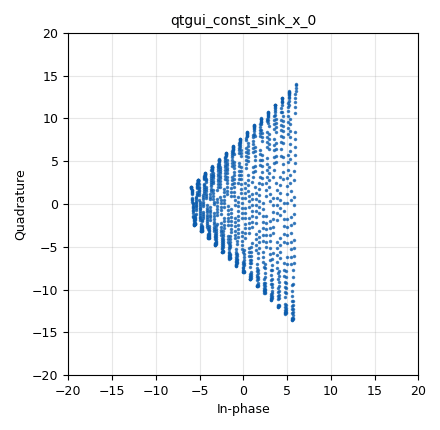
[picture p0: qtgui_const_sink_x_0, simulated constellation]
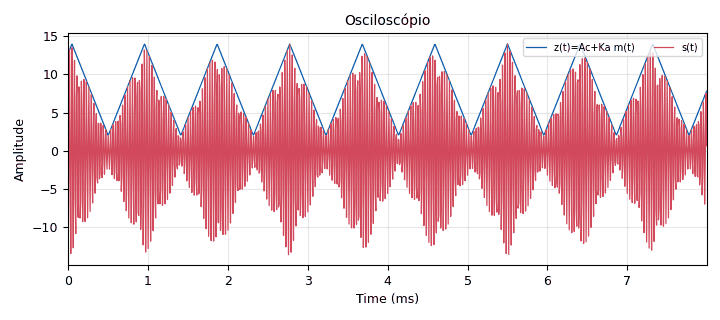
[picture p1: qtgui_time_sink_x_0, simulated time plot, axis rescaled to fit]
options:
  parameters:
    author: pedro
    generate_options: qt_gui
    id: m180108140_Exp02_AR01
    output_language: python
    title: AR01
  states: {}

blocks:
- name: Ka
  id: variable_qtgui_range
  parameters:
    gui_hint: (7,1,1,4)
    orient: Qt.Horizontal
    start: '0'
    step: '1'
    stop: '12'
    value: '6'
  states: {}
- name: samp_rate
  id: variable
  parameters:
    value: '128000'
  states: {}
- name: analog_sig_source_x_0
  id: analog_sig_source_x
  parameters:
    amp: '2'
    freq: '1100'
    offset: '-1'
    phase: '0'
    samp_rate: samp_rate
    type: float
    waveform: analog.GR_TRI_WAVE
  states: {}
- name: analog_sig_source_x_0_0
  id: analog_sig_source_x
  parameters:
    amp: '1'
    freq: '33000'
    offset: '0'
    phase: '0'
    samp_rate: samp_rate
    type: float
    waveform: analog.GR_COS_WAVE
  states: {}
- name: blocks_add_const_vxx_0
  id: blocks_add_const_vxx
  parameters:
    const: '8'
    type: float
  states: {}
- name: blocks_float_to_complex_0
  id: blocks_float_to_complex
  parameters: {}
  states: {}
- name: blocks_multiply_const_vxx_0
  id: blocks_multiply_const_vxx
  parameters:
    const: Ka
    type: float
  states: {}
- name: blocks_multiply_xx_0
  id: blocks_multiply_xx
  parameters:
    type: float
  states: {}
- name: blocks_throttle_0
  id: blocks_throttle
  parameters:
    samples_per_second: samp_rate
    type: float
  states: {}
- name: blocks_throttle_0_0
  id: blocks_throttle
  parameters:
    samples_per_second: samp_rate
    type: float
  states: {}
- name: blocks_throttle_1
  id: blocks_throttle
  parameters:
    samples_per_second: samp_rate
    type: complex
  states: {}
- name: qtgui_const_sink_x_0
  id: qtgui_const_sink_x
  parameters:
    grid: 'True'
    gui_hint: (1,3,6,2)
    size: '1024'
    type: complex
    xmax: '20'
    xmin: '-20'
    ymax: '20'
    ymin: '-20'
  states: {}
- name: qtgui_time_sink_x_0
  id: qtgui_time_sink_x
  parameters:
    ctrlpanel: 'True'
    grid: 'True'
    gui_hint: (1,1,6,2)
    label1: z(t)=Ac+Ka m(t)
    label2: s(t)
    name: Osciloscópio
    nconnections: '2'
    size: '1024'
    srate: samp_rate
    type: float
    yunit: '"V"'
  states: {}

connections:
- [analog_sig_source_x_0, '0', blocks_throttle_0, '0']
- [analog_sig_source_x_0_0, '0', blocks_throttle_0_0, '0']
- [blocks_add_const_vxx_0, '0', blocks_multiply_xx_0, '0']
- [blocks_add_const_vxx_0, '0', qtgui_time_sink_x_0, '0']
- [blocks_float_to_complex_0, '0', blocks_throttle_1, '0']
- [blocks_multiply_const_vxx_0, '0', blocks_add_const_vxx_0, '0']
- [blocks_multiply_const_vxx_0, '0', blocks_float_to_complex_0, '0']
- [blocks_multiply_xx_0, '0', blocks_float_to_complex_0, '1']
- [blocks_multiply_xx_0, '0', qtgui_time_sink_x_0, '1']
- [blocks_throttle_0, '0', blocks_multiply_const_vxx_0, '0']
- [blocks_throttle_0_0, '0', blocks_multiply_xx_0, '1']
- [blocks_throttle_1, '0', qtgui_const_sink_x_0, '0']

metadata:
  file_format: 1
